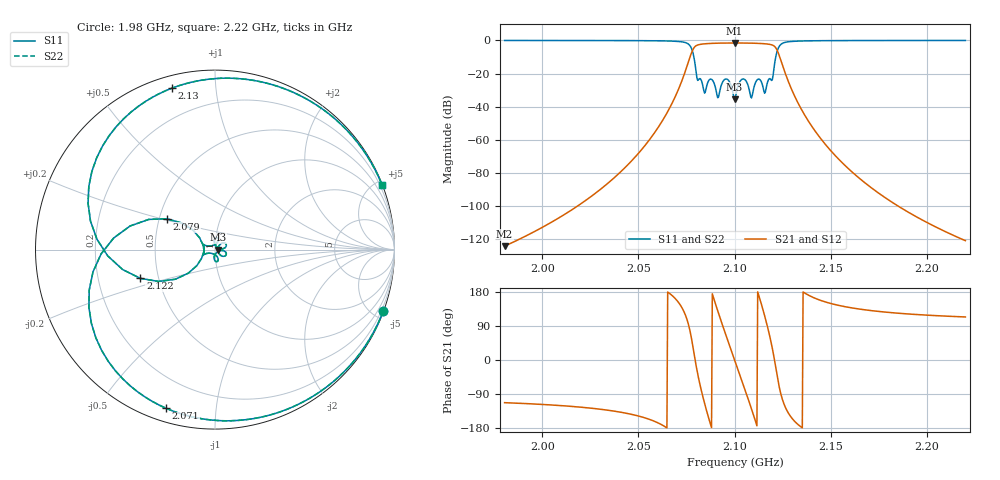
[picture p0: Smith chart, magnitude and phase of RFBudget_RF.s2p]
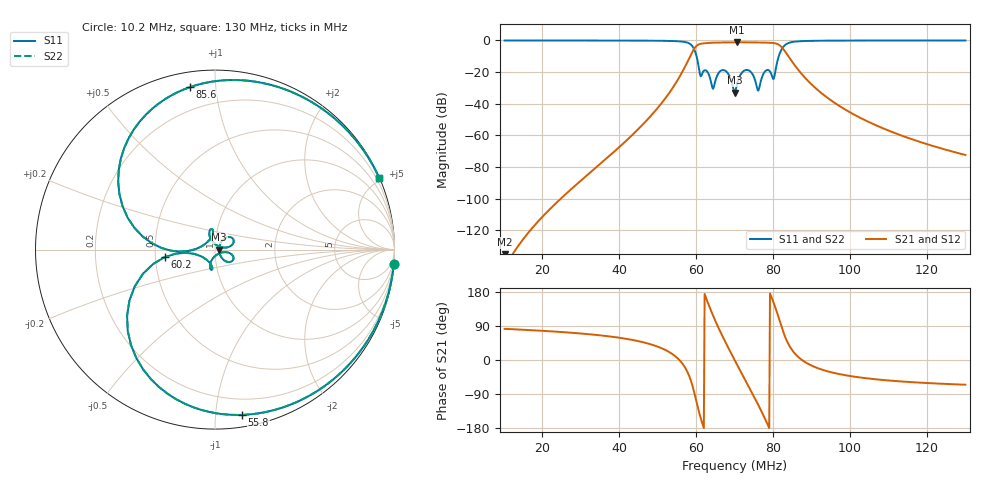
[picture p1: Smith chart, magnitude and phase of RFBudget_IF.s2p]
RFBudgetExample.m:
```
%% Visualizing RF Budget Analysis Over Bandwidth
% This example shows how to programmatically perform an RF budget analysis
% of an RF receiver system and visualize computed budget results across the
% bandwidth of the input signal.
%
% First, use
% <matlab:doc('amplifier') amplifier>,
% <matlab:doc('modulator') modulator>,
% <matlab:doc('rfelement') rfelement>,
% and
% <matlab:doc('nport') nport>
% objects to specify the 2-port RF elements in a design.  Then compute RF
% budget results by cascading the elements together into an RF system with
% <matlab:doc('rfbudget') rfbudget>.
%
% The rfbudget object enables design exploration and visualization at the
% MATLAB command-line or graphically in the 
% <matlab:helpview(fullfile(docroot,'rf','helptargets.map'),'rfbudget_app') rfBudgetAnalyzer> 
% app.  It also enables automatic RF Blockset model and measurement
% testbench generation.

% Copyright 2017 The MathWorks, Inc.

%% Introduction
% RF system designers typically begin a design process with budget
% specifications for the gain, noise figure (NF), and nonlinearity (IP3) of
% the entire system.
%
% MATLAB functionality supporting RF budget analysis makes it easy to
% visualize gain, NF and IP3 results at multiple frequencies throughout the
% bandwidth of the signal.  You can:
%
% * Programmatically build an 
%   <matlab:doc('rfbudget') rfbudget>
%   object out of 2-port RF elements.
% * Use the command-line display of the rfbudget object to view
%   single-frequency budget results.
% * Vectorize the input frequency of the rfbudget object and use MATLAB
%   plot to visualize RF budget results across the bandwidth of the input
%   signal.
%
% In addition, with an rfbudget object you can:
%
% * Use export methods to generate MATLAB scripts, RF Blockset models, or
%   measurement testbenches in Simulink.
% * Use show to copy an rfbudget object into the 
%   <matlab:helpview(fullfile(docroot,'rf','helptargets.map'),'rfbudget_app') rfBudgetAnalyzer>
%   app.

%% Building the Elements of an RF Receiver
% A basic RF receiver consists of an RF filter, an RF amplifier, a
% demodulator, an IF filter, and an IF amplifier.
%
% First build and parameterize each of the 2-port RF elements.  Then use
% rfbudget to cascade the elements with input frequency 2.1 GHz, input
% power -30 dBm, and input bandwidth 45 MHz.

f1 = nport('RFBudget_RF.s2p','RFBandpassFilter');

a1 = amplifier('Name','RFAmplifier', ...
    'Gain',11.53, ...
    'NF',1.53, ...
    'OIP3',35);

d = modulator('Name','Demodulator', ...
    'Gain',-6, ...
    'NF',4, ...
    'OIP3',50, ...
    'LO',2.03e9, ...
    'ConverterType','Down');

f2 = nport('RFBudget_IF.s2p','IFBandpassFilter');

a2 = amplifier('Name','IFAmplifier', ...
    'Gain',30, ...
    'NF',8, ...
    'OIP3',37);

b = rfbudget('Elements',[f1 a1 d f2 a2], ...
    'InputFrequency',2.1e9, ...
    'AvailableInputPower',-30, ...
    'SignalBandwidth',45e6);

%% Visualize RF Budget Results in MATLAB
% Scalar frequency results can be viewed simply by using MATLAB disp to see
% the results at the command-line.
%
% Each column of the budget shows the results of cascading only the
% elements of the previous columns.  The final column shows the RF budget
% results of the entire cascade.
disp(b)

%% Vectorize Input Frequency to Compute over Frequency Range
% Change the InputFrequency property to be a vector of nonnegative values
% to compute the results across a frequency range.
%
% Use plot to visualize any of the RF budget results, such as
% TransducerGain, NF, or OIP3.
RF = 2.1e9;
BW = 45e6;
b.InputFrequency = linspace(RF-BW/2,RF+BW/2,101);

figure
plot(b.InputFrequency,b.TransducerGain,'-o')
legend('1','1..2','1..3','1..4','1..5','Location','northwest')
grid on
title('Transducer Gain vs. Bandwidth')
xlabel('Frequency (Hz)')
ylabel('Transducer Gain (dB)')

figure
plot(b.InputFrequency,b.NF,'-o')
legend('1','1..2','1..3','1..4','1..5','Location','northeast')
grid on
title('Noise Figure vs. Bandwidth')
xlabel('Frequency (Hz)')
ylabel('Noise Figure (dB)')

%% Easily Export to RF Blockset and Simulink
% The
% <matlab:doc('rfbudget') rfbudget>
% object has other useful MATLAB methods:
%
% * <matlab:doc('rfbudget.exportScript') exportScript> - generate a MATLAB script that builds the current design
% * <matlab:doc('rfbudget.exportRFBlockset') exportRFBlockset> - generate an RF Blockset model for simulation
% * <matlab:doc('rfbudget.exportTestbench') exportTestbench> - generate a Simulink measurement testbench
%
%% Visualize RF Budget Results in the App
% Finally, you can use the show command to copy a single-frequency rfbudget
% object into the 
% <matlab:helpview(fullfile(docroot,'rf','helptargets.map'),'rfbudget_app') rfBudgetAnalyzer>
% app.
%
% In the app, the Export button copies the current design to an rfbudget
% object in the MATLAB workspace.  All of the other export methods of the
% RF budget object are available through the pulldown options of the Export
% button.
b.InputFrequency = 2.1e9
show(b)
```
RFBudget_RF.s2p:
# GHz S RI R 50
! S-Parameters data
! Freq  reS11  imS11  reS21  imS21  reS12  imS12  reS22  imS22
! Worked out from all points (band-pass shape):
!   600 points, 1.98 GHz to 2.22 GHz, reference 50 ohm
!   highest |S21| = -1.53 dB at 2.1 GHz (marker M1); lowest = -124.3 dB at 1.98 GHz (marker M2)
!   |S21| within 3 dB of the highest: 2.079 GHz to 2.121 GHz (42.6 MHz wide, 2.03 % of centre)
!   lowest |S11| = -35.6 dB at 2.1 GHz (marker M3), VSWR 1.03, Z = 51.7 + j0.00024 ohm
!   |S11| at or under -10 dB: 2.079 GHz to 2.121 GHz (42.6 MHz wide, 2.03 % of centre)
!   |S22| runs from -35.6 to 0.0 dB; largest |S21 - S12| = 0
!   S11 on the Smith chart (normalised r, x): 1.98 GHz: 0.04, -5.63; 2.071 GHz: 0.06, -0.74; 2.079 GHz: 0.55, +0.21; 2.122 GHz: 0.39, -0.16; 2.13 GHz: 0.06, +0.77; 2.22 GHz: 0.03, +5.32
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1.9804  0.9369 -0.3435  -2.34e-07 -5.62e-07  -2.34e-07 -5.62e-07  0.9369 -0.3435
2.0404  0.7316 -0.6676  -7.56e-05 -6.94e-05  -7.56e-05 -6.94e-05  0.7316 -0.6676
2.0712  -0.273 -0.884  -0.0325 0.0193  -0.0325 0.0193  -0.273 -0.884
2.0788  -0.2688 0.1717  0.5539 0.2064  0.5539 0.2064  -0.2688 0.1717
2.0884  0.00138 -0.0637  -0.812 0.0754  -0.812 0.0754  0.00138 -0.0637
2.1  0.0165 2.32e-06  0.8381 -2.46e-05  0.8381 -2.46e-05  0.0165 2.32e-06
2.1004  0.0172 0.0079  0.8338 -0.0844  0.8338 -0.0844  0.0172 0.0079
2.122  -0.4155 -0.1604  0.4083 -0.322  0.4083 -0.322  -0.4155 -0.1604
2.1296  -0.2381 0.9002  -0.0296 -0.0155  -0.0296 -0.0155  -0.2381 0.9002
2.1616  0.7343 0.6656  -7.28e-05 6.8e-05  -7.28e-05 6.8e-05  0.7343 0.6656
2.22  0.9299 0.362  -3.57e-07 8.17e-07  -3.57e-07 8.17e-07  0.9299 0.362
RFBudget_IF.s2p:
# MHz S RI R 50
! S-Parameters data
! Freq  reS11  imS11  reS21  imS21  reS12  imS12  reS22  imS22
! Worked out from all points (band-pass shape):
!   600 points, 10.2 MHz to 130 MHz, reference 50 ohm
!   highest |S21| = -1.14 dB at 70.6 MHz (marker M1); lowest = -143.6 dB at 10.2 MHz (marker M2)
!   |S21| within 3 dB of the highest: 59.83 MHz to 82.2 MHz (22.37 MHz wide, 31.5 % of centre)
!   lowest |S11| = -32.9 dB at 70 MHz (marker M3), VSWR 1.05, Z = 52.3 + j0.00576 ohm
!   |S11| at or under -10 dB: 60.1 MHz to 81.47 MHz (21.37 MHz wide, 30.2 % of centre)
!   |S22| runs from -32.9 to 0.0 dB; largest |S21 - S12| = 0
!   S11 on the Smith chart (normalised r, x): 10.2 MHz: 0, -25; 55.8 MHz: 0.08, -1.17; 60.2 MHz: 0.56, -0.05; 85.6 MHz: 0.08, +0.85; 130 MHz: 0.02, +4.82
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10.2  0.996 -0.0787  9e-09 6.57e-08  9e-09 6.57e-08  0.996 -0.0787
34.2  0.9365 -0.3358  4.16e-05 9.34e-05  4.16e-05 9.34e-05  0.9365 -0.3358
55.8  0.1518 -0.9208  0.0751 -0.00237  0.0751 -0.00237  0.1518 -0.9208
60.2  -0.2812 -0.0423  -0.2896 -0.6261  -0.2896 -0.6261  -0.2812 -0.0423
65.2  0.0624 -0.0145  -0.125 0.8465  -0.125 0.8465  0.0624 -0.0145
70  0.0225 5.51e-05  0.8761 -0.000321  0.8761 -0.000321  0.0225 5.51e-05
70.2  0.0231 0.0102  0.8743 -0.0597  0.8743 -0.0597  0.0231 0.0102
70.6  0.0279 0.0296  0.8585 -0.1768  0.8585 -0.1768  0.0279 0.0296
78.6  -0.0201 0.115  -0.8394 -0.1409  -0.8394 -0.1409  -0.0201 0.115
85.6  -0.1404 0.9049  0.1581 0.051  0.1581 0.051  -0.1404 0.9049
130  0.9157 0.3971  0.000101 -0.000218  0.000101 -0.000218  0.9157 0.3971
